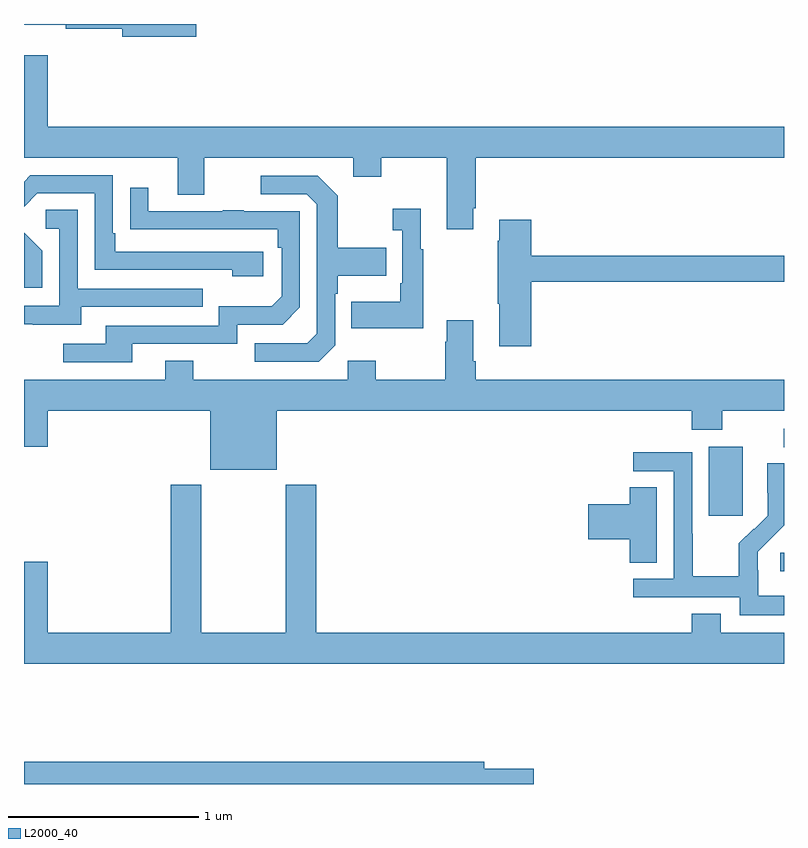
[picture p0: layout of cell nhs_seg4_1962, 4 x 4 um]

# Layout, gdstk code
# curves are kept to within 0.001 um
import gdstk
lib = gdstk.Library(unit=1e-6, precision=1e-09)
def R(c, l, rs):  # rectangles x0, y0, x1, y1
    for r in rs: c.add(gdstk.rectangle(r[:2], r[2:], *l))
def P(c, l, *ps):  # polygons
    for p in ps: c.add(gdstk.Polygon(p, *l))
L2000_40 = (2000, 40)

nhs_seg4_1962 = lib.new_cell('nhs_seg4_1962')
R(nhs_seg4_1962, L2000_40, [(216.981,752.021,217,752.118), (216.605,752.313,216.784,752.674), (216.999,752.673,217,752.769)])
P(nhs_seg4_1962, L2000_40, [(213.907,754.9),(213,754.9),(213,754.895),(213.22,754.895),(213.22,754.876),(213.518,754.876),(213.518,754.834),(213.907,754.834)],
  [(215.365,753.931),(215.378,753.931),(215.378,754.196),(217,754.196),(217,754.36),(213.124,754.36),(213.124,754.735),(213,754.735),(213,754.196),(213.809,754.196),(213.809,754.002),(213.949,754.002),(213.949,754.196),(214.733,754.196),(214.733,754.097),(214.881,754.097),(214.881,754.196),(215.225,754.196),(215.225,753.819),(215.365,753.819)],
  [(214.258,753.702),(213.481,753.702),(213.481,753.799),(213.468,753.799),(213.468,754.104),(213.033,754.104),(213,754.071),(213,753.939),(213.069,754.008),(213.372,754.008),(213.372,753.606),(214.097,753.606),(214.097,753.572),(214.258,753.572)],
  [(214.638,753.21),(214.638,753.479),(214.651,753.479),(214.651,753.575),(214.907,753.575),(214.907,753.723),(214.651,753.723),(214.651,753.995),(214.545,754.101),(214.245,754.101),(214.245,754.005),(214.488,754.005),(214.542,753.951),(214.542,753.27),(214.491,753.219),(214.215,753.219),(214.215,753.123),(214.551,753.123)],
  [(213.571,753.216),(214.122,753.216),(214.122,753.318),(214.362,753.318),(214.452,753.408),(214.452,753.915),(214.157,753.915),(214.157,753.92),(214.045,753.92),(214.045,753.915),(213.655,753.915),(213.655,754.039),(213.559,754.039),(213.559,753.82),(214.336,753.819),(214.336,753.722),(214.356,753.722),(214.356,753.468),(214.303,753.415),(214.026,753.415),(214.026,753.312),(213.431,753.312),(213.431,753.216),(213.207,753.216),(213.207,753.12),(213.571,753.12)],
  [(215.101,753.715),(215.089,753.715),(215.089,753.928),(214.941,753.928),(214.941,753.815),(214.992,753.815),(214.992,753.535),(214.98,753.535),(214.98,753.439),(214.723,753.439),(214.723,753.299),(215.101,753.299)],
  [(213.301,753.411),(213.941,753.411),(213.941,753.507),(213.282,753.507),(213.282,753.923),(213.114,753.923),(213.114,753.822),(213.186,753.822),(213.186,753.417),(213,753.417),(213,753.321),(213.047,753.321),(213.047,753.317),(213.301,753.317)],
  [(215.669,753.544),(217,753.544),(217,753.68),(215.669,753.68),(215.669,753.871),(215.501,753.871),(215.501,753.758),(215.494,753.758),(215.494,753.427),(215.501,753.427),(215.501,753.204),(215.669,753.204)],
  [(213.096,753.706),(213,753.802),(213,753.513),(213.096,753.513)],
  [(214.33,752.864),(216.515,752.864),(216.515,752.765),(216.675,752.765),(216.675,752.864),(217,752.864),(217,753.028),(215.378,753.028),(215.378,753.124),(215.365,753.124),(215.365,753.34),(215.225,753.34),(215.225,753.227),(215.218,753.227),(215.218,753.028),(214.851,753.028),(214.851,753.127),(214.704,753.127),(214.704,753.028),(213.891,753.028),(213.891,753.127),(213.743,753.127),(213.743,753.028),(213,753.028),(213,752.676),(213.124,752.676),(213.124,752.864),(213.98,752.864),(213.98,752.555),(214.33,752.555)],
  [(217,751.891),(216.864,751.891),(216.864,752.025),(216.862,752.025),(216.862,752.122),(217,752.262),(217,752.588),(216.912,752.588),(216.912,752.434),(216.914,752.434),(216.914,752.312),(216.843,752.241),(216.84,752.244),(216.763,752.167),(216.763,751.993),(216.519,751.993),(216.519,752.216),(216.516,752.216),(216.516,752.646),(216.207,752.646),(216.207,752.547),(216.42,752.547),(216.42,751.98),(216.207,751.98),(216.207,751.884),(216.768,751.884),(216.768,751.787),(217,751.787)],
  [(217,751.696),(216.667,751.696),(216.667,751.795),(216.515,751.795),(216.515,751.696),(214.538,751.696),(214.538,752.476),(214.378,752.476),(214.378,751.696),(213.933,751.696),(213.933,752.476),(213.773,752.476),(213.773,751.696),(213.124,751.696),(213.124,752.071),(213,752.071),(213,751.532),(217,751.532)],
  [(216.331,752.462),(216.188,752.462),(216.188,752.372),(215.97,752.372),(215.97,752.189),(216.188,752.189),(216.188,752.065),(216.331,752.065)],
  [(215.683,750.98),(215.422,750.98),(215.422,751.016),(213,751.016),(213,750.9),(215.683,750.9)])

lib.write_gds('nhs_seg4_1962.gds')
